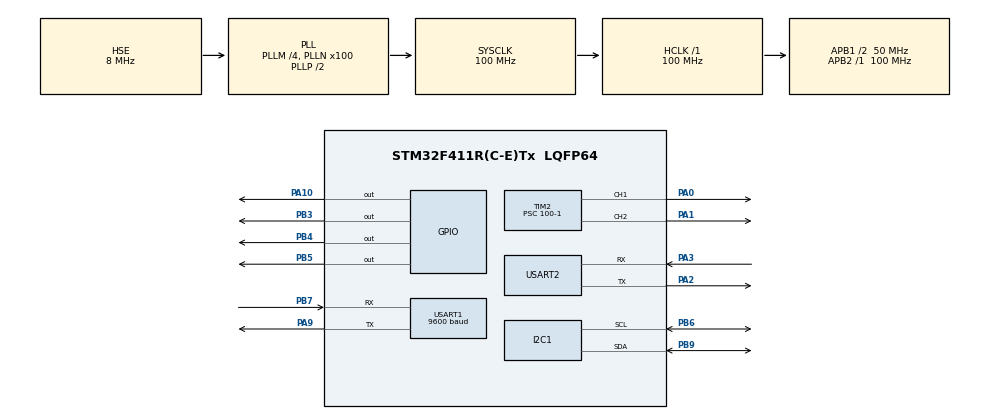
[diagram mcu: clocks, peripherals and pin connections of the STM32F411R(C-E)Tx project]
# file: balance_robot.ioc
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Mcu.Family=STM32F4
Mcu.Name=STM32F411R(C-E)Tx
Mcu.Package=LQFP64
NVIC.I2C1_ER_IRQn=true\:0\:0\:false\:false\:true\:true\:true\:true
NVIC.I2C1_EV_IRQn=true\:0\:0\:false\:false\:true\:true\:true\:true
NVIC.PriorityGroup=NVIC_PRIORITYGROUP_4
NVIC.USART1_IRQn=true\:0\:0\:false\:false\:true\:true\:true\:true
PA0-WKUP.Signal=S_TIM2_CH1_ETR
PA1.Signal=S_TIM2_CH2
PA10.Signal=GPIO_Output
PA13.Mode=Serial_Wire
PA13.Signal=SYS_JTMS-SWDIO
PA14.Mode=Serial_Wire
PA14.Signal=SYS_JTCK-SWCLK
PA2.Mode=Asynchronous
PA2.Signal=USART2_TX
PA3.Mode=Asynchronous
PA3.Signal=USART2_RX
PA9.Mode=Asynchronous
PA9.Signal=USART1_TX
PB3.Signal=GPIO_Output
PB4.Signal=GPIO_Output
PB5.Signal=GPIO_Output
PB6.GPIO_Pu=GPIO_PULLUP
PB6.Mode=I2C
PB6.Signal=I2C1_SCL
PB7.Mode=Asynchronous
PB7.Signal=USART1_RX
PB9.GPIO_Pu=GPIO_PULLUP
PB9.Mode=I2C
PB9.Signal=I2C1_SDA
PH0\ -\ OSC_IN.Mode=HSE-External-Oscillator
PH0\ -\ OSC_IN.Signal=RCC_OSC_IN
PH1\ -\ OSC_OUT.Mode=HSE-External-Oscillator
PH1\ -\ OSC_OUT.Signal=RCC_OSC_OUT
ProjectManager.HeapSize=0x200
ProjectManager.StackSize=0x400
ProjectManager.TargetToolchain=STM32CubeIDE
RCC.48MHZClocksFreq_Value=50000000
RCC.AHBFreq_Value=100000000
RCC.APB1CLKDivider=RCC_HCLK_DIV2
RCC.APB1Freq_Value=50000000
RCC.APB1TimFreq_Value=100000000
RCC.APB2Freq_Value=100000000
RCC.APB2TimFreq_Value=100000000
RCC.CortexFreq_Value=100000000
RCC.HCLKFreq_Value=100000000
RCC.HSE_VALUE=8000000
RCC.HSI_VALUE=16000000
RCC.LSE_VALUE=32768
RCC.PLLM=4
RCC.PLLN=100
RCC.PLLSourceVirtual=RCC_PLLSOURCE_HSE
RCC.SYSCLKFreq_VALUE=100000000
RCC.SYSCLKSource=RCC_SYSCLKSOURCE_PLLCLK
RCC.VCOOutputFreq_Value=200000000
SH.S_TIM2_CH1_ETR.0=TIM2_CH1,PWM Generation1 CH1
SH.S_TIM2_CH2.0=TIM2_CH2,PWM Generation2 CH2
TIM2.Channel-PWM\ Generation1\ CH1=TIM_CHANNEL_1
TIM2.Channel-PWM\ Generation2\ CH2=TIM_CHANNEL_2
TIM2.Period=1000-1
TIM2.Prescaler=100-1
TIM2.Pulse-PWM\ Generation1\ CH1=700
TIM2.Pulse-PWM\ Generation2\ CH2=700
USART1.BaudRate=9600
USART1.VirtualMode=VM_ASYNC
USART2.VirtualMode=VM_ASYNC
board=custom

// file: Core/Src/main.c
/* USER CODE BEGIN Header */
/**
  ******************************************************************************
  * @file           : main.c
  * @brief          : Main program body (Motor Control + MPU6050)
  ******************************************************************************
  */
/* USER CODE END Header */
#include "main.h"
#include "i2c.h"
#include "tim.h"
#include "usart.h"
#include "gpio.h"

/* USER CODE BEGIN Includes */
#include "motor.h"
#include "mpu6050.h"
#include <stdio.h>
#include <string.h>
/* USER CODE END Includes */

/* USER CODE BEGIN PV */
// Bluetooth control variables
uint8_t btData = 0;
volatile uint16_t speedVal = 700;
volatile uint8_t currentDirection = 'S';

// Debug buffer
char uart_buffer[150];
/* USER CODE END PV */

void SystemClock_Config(void);

int main(void)
{

  /* MCU Configuration--------------------------------------------------------*/

  /* Reset of all peripherals, Initializes the Flash interface and the Systick. */
  HAL_Init();

  /* Configure the system clock */
  SystemClock_Config();

  /* Initialize all configured peripherals */
  MX_GPIO_Init();
  MX_I2C1_Init();
  MX_USART1_UART_Init();
  MX_USART2_UART_Init();
  MX_TIM2_Init();
  /* USER CODE BEGIN 2 */

  // Initialize PWM for motors
  HAL_TIM_PWM_Start(&htim2, TIM_CHANNEL_1);  // PA0 (ENA)
  HAL_TIM_PWM_Start(&htim2, TIM_CHANNEL_2);  // PA1 (ENB)

  // Initialize UART receive interrupt for Bluetooth
  HAL_UART_Receive_IT(&huart1, &btData, 1);

  // Initialize MPU6050
  if(MPU6050_Init() == 0)
  {
      sprintf(uart_buffer, "MPU6050 Initialization Success!\r\n");
      HAL_UART_Transmit(&huart2, (uint8_t*)uart_buffer, strlen(uart_buffer), 1000);
  }
  else
  {
      sprintf(uart_buffer, "MPU6050 Initialization Failed!\r\n");
      HAL_UART_Transmit(&huart2, (uint8_t*)uart_buffer, strlen(uart_buffer), 1000);
  }

  sprintf(uart_buffer, "System Ready - Bluetooth + MPU6050\r\n");
  HAL_UART_Transmit(&huart2, (uint8_t*)uart_buffer, strlen(uart_buffer), 1000);

  /* USER CODE END 2 */

  /* Infinite loop */
  while (1)
  {

    /* USER CODE BEGIN 3 */

    // Read MPU6050 data
    MPU6050_Read_Accel();

    // Process Bluetooth commands
    if (mpu_data.x_mg > -30) {
    	wHandler();
    } else if(mpu_data.x_mg < -40)
    {
    	sHandler();
    } else {
    	stopHandler();
    }

    if (btData >= '0' && btData <= '9')
    {
        speedVal = ((btData - '0') * 70) + 370;
        TIM2->CCR1 = speedVal;
        TIM2->CCR2 = speedVal;

        sprintf(uart_buffer, "Speed: %d\r\n", speedVal);
        HAL_UART_Transmit(&huart2, (uint8_t*)uart_buffer, strlen(uart_buffer), 100);
    }
    else {
        currentDirection = btData;
        switch (currentDirection)
        {
        case 'S':
            stopHandler();
            sprintf(uart_buffer, "STOP\r\n");
            break;
        case 'F':
            wHandler();
            sprintf(uart_buffer, "FORWARD\r\n");
            break;
        case 'B':
            sHandler();
            sprintf(uart_buffer, "BACKWARD\r\n");
            break;
        case 'R':
            dHandler();
            sprintf(uart_buffer, "RIGHT\r\n");
            break;
        case 'L':
            aHandler();
            sprintf(uart_buffer, "LEFT\r\n");
            break;
        case 'G':
            wlHandler();
            sprintf(uart_buffer, "FORWARD-LEFT\r\n");
            break;
        case 'H':
            wrHandler();
            sprintf(uart_buffer, "FORWARD-RIGHT\r\n");
            break;
        case 'I':
            slHandler();
            sprintf(uart_buffer, "BACKWARD-LEFT\r\n");
            break;
        case 'J':
            srHandler();
            sprintf(uart_buffer, "BACKWARD-RIGHT\r\n");
            break;
        default:
            sprintf(uart_buffer, "Unknown: %c\r\n", btData);
            break;
        }

        if(currentDirection >= 'A' && currentDirection <= 'Z')
        {
            HAL_UART_Transmit(&huart2, (uint8_t*)uart_buffer, strlen(uart_buffer), 100);
        }
    }

    // Send MPU6050 data every 10 loops (reduce UART traffic)
    static uint8_t mpu_counter = 0;
    if(++mpu_counter >= 10)
    {
        mpu_counter = 0;

        sprintf(uart_buffer, "MPU: X:%ld Y:%ld Z:%ld mg\r\n",
                MPU6050_Get_X_mg(), MPU6050_Get_Y_mg(), MPU6050_Get_Z_mg());
        HAL_UART_Transmit(&huart2, (uint8_t*)uart_buffer, strlen(uart_buffer), 100);
    }

    HAL_Delay(50); // 50ms delay for smooth operation
  }
  /* USER CODE END 3 */
}

/* USER CODE BEGIN 4 */
/**
  * @brief UART Receive Complete Callback
  * @param huart: UART handle
  * @retval None
  */
void HAL_UART_RxCpltCallback(UART_HandleTypeDef *huart)
{
    if(huart->Instance == USART1)
    {
        HAL_UART_Receive_IT(&huart1, &btData, 1); // Re-enable interrupt
    }
}
/* USER CODE END 4 */

void SystemClock_Config(void)
{
  RCC_OscInitTypeDef RCC_OscInitStruct = {0};
  RCC_ClkInitTypeDef RCC_ClkInitStruct = {0};

  /** Configure the main internal regulator output voltage
  */
  __HAL_RCC_PWR_CLK_ENABLE();
  __HAL_PWR_VOLTAGESCALING_CONFIG(PWR_REGULATOR_VOLTAGE_SCALE1);

  /** Initializes the RCC Oscillators according to the specified parameters
  * in the RCC_OscInitTypeDef structure.
  */
  RCC_OscInitStruct.OscillatorType = RCC_OSCILLATORTYPE_HSE;
  RCC_OscInitStruct.HSEState = RCC_HSE_ON;
  RCC_OscInitStruct.PLL.PLLState = RCC_PLL_ON;
  RCC_OscInitStruct.PLL.PLLSource = RCC_PLLSOURCE_HSE;
  RCC_OscInitStruct.PLL.PLLM = 4;
  RCC_OscInitStruct.PLL.PLLN = 100;
  RCC_OscInitStruct.PLL.PLLP = RCC_PLLP_DIV2;
  RCC_OscInitStruct.PLL.PLLQ = 4;
  if (HAL_RCC_OscConfig(&RCC_OscInitStruct) != HAL_OK)
  {
    Error_Handler();
  }

  /** Initializes the CPU, AHB and APB buses clocks
  */
  RCC_ClkInitStruct.ClockType = RCC_CLOCKTYPE_HCLK|RCC_CLOCKTYPE_SYSCLK
                              |RCC_CLOCKTYPE_PCLK1|RCC_CLOCKTYPE_PCLK2;
  RCC_ClkInitStruct.SYSCLKSource = RCC_SYSCLKSOURCE_PLLCLK;
  RCC_ClkInitStruct.AHBCLKDivider = RCC_SYSCLK_DIV1;
  RCC_ClkInitStruct.APB1CLKDivider = RCC_HCLK_DIV2;
  RCC_ClkInitStruct.APB2CLKDivider = RCC_HCLK_DIV1;

  if (HAL_RCC_ClockConfig(&RCC_ClkInitStruct, FLASH_LATENCY_3) != HAL_OK)
  {
    Error_Handler();
  }
}

void Error_Handler(void)
{
  __disable_irq();
  while (1)
  {
  }
}
